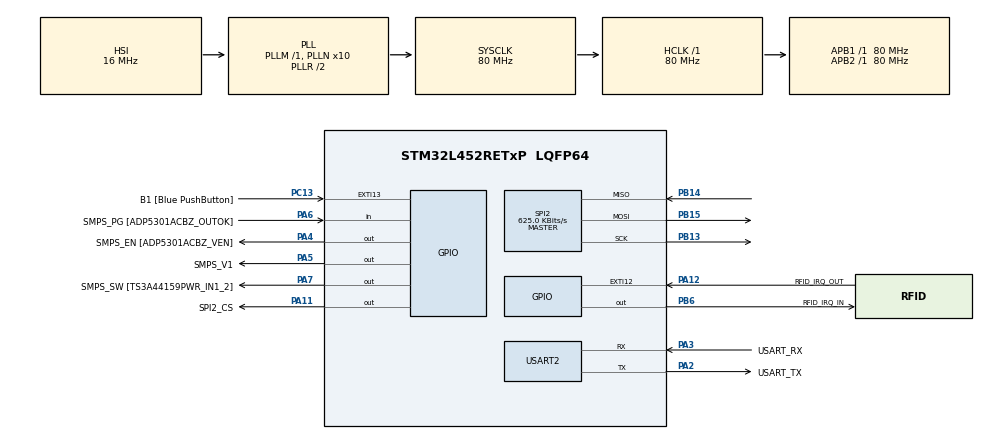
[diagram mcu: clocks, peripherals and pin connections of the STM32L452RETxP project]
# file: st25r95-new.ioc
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Mcu.Family=STM32L4
Mcu.Name=STM32L452RETxP
Mcu.Package=LQFP64
NVIC.EXTI15_10_IRQn=true\:0\:0\:false\:false\:true\:true\:true\:true
NVIC.PriorityGroup=NVIC_PRIORITYGROUP_4
PA11.GPIO_Label=SPI2_CS
PA11.GPIO_PuPd=GPIO_NOPULL
PA11.GPIO_Speed=GPIO_SPEED_FREQ_VERY_HIGH
PA11.PinState=GPIO_PIN_SET
PA11.Signal=GPIO_Output
PA12.GPIO_Label=RFID_IRQ_OUT
PA12.GPIO_ModeDefaultEXTI=GPIO_MODE_IT_FALLING
PA12.GPIO_PuPd=GPIO_PULLUP
PA12.Signal=GPXTI12
PA13\ (JTMS/SWDIO).GPIO_Label=TMS
PA13\ (JTMS/SWDIO).Signal=SYS_JTMS-SWDIO
PA14\ (JTCK/SWCLK).GPIO_Label=TCK
PA14\ (JTCK/SWCLK).Signal=SYS_JTCK-SWCLK
PA2.GPIO_Label=USART_TX
PA2.GPIO_Mode=GPIO_MODE_AF_PP
PA2.GPIO_PuPd=GPIO_NOPULL
PA2.GPIO_Speed=GPIO_SPEED_FREQ_VERY_HIGH
PA2.Mode=Asynchronous
PA2.Signal=USART2_TX
PA3.GPIO_Label=USART_RX
PA3.GPIO_Mode=GPIO_MODE_AF_PP
PA3.GPIO_PuPd=GPIO_NOPULL
PA3.GPIO_Speed=GPIO_SPEED_FREQ_VERY_HIGH
PA3.Mode=Asynchronous
PA3.Signal=USART2_RX
PA4.GPIO_Label=SMPS_EN [ADP5301ACBZ_VEN]
PA4.Signal=GPIO_Output
PA5.GPIO_Label=SMPS_V1
PA5.GPIO_ModeDefaultOutputPP=GPIO_MODE_OUTPUT_PP
PA5.GPIO_PuPd=GPIO_NOPULL
PA5.GPIO_Speed=GPIO_SPEED_FREQ_LOW
PA5.Signal=GPIO_Output
PA6.GPIO_Label=SMPS_PG [ADP5301ACBZ_OUTOK]
PA6.GPIO_PuPd=GPIO_PULLUP
PA6.Signal=GPIO_Input
PA7.GPIO_Label=SMPS_SW [TS3A44159PWR_IN1_2]
PA7.Signal=GPIO_Output
PB13.Mode=Full_Duplex_Master
PB13.Signal=SPI2_SCK
PB14.Mode=Full_Duplex_Master
PB14.Signal=SPI2_MISO
PB15.Mode=Full_Duplex_Master
PB15.Signal=SPI2_MOSI
PB3\ (JTDO/TRACESWO).GPIO_Label=SWO
PB3\ (JTDO/TRACESWO).Signal=SYS_JTDO-SWO
PB6.GPIO_FM6=__NULL
PB6.GPIO_Label=RFID_IRQ_IN
PB6.GPIO_PuPd=GPIO_PULLUP
PB6.GPIO_Speed=GPIO_SPEED_FREQ_LOW
PB6.PinState=GPIO_PIN_RESET
PB6.Signal=GPIO_Output
PC13.GPIO_Label=B1 [Blue PushButton]
PC13.GPIO_ModeDefaultEXTI=GPIO_MODE_IT_FALLING
PC13.GPIO_PuPd=GPIO_NOPULL
PC13.Signal=GPXTI13
PC14-OSC32_IN\ (PC14).Signal=RCC_OSC32_IN
PC15-OSC32_OUT\ (PC15).Signal=RCC_OSC32_OUT
PH0-OSC_IN\ (PH0).GPIO_Label=MCO
PH0-OSC_IN\ (PH0).Signal=RCC_OSC_IN
PH1-OSC_OUT\ (PH1).Signal=RCC_OSC_OUT
ProjectManager.HeapSize=0x200
ProjectManager.StackSize=0x400
ProjectManager.TargetToolchain=STM32CubeIDE
RCC.ADCFreq_Value=64000000
RCC.AHBFreq_Value=80000000
RCC.APB1Freq_Value=80000000
RCC.APB1TimFreq_Value=80000000
RCC.APB2Freq_Value=80000000
RCC.APB2TimFreq_Value=80000000
RCC.CortexFreq_Value=80000000
RCC.HCLKFreq_Value=80000000
RCC.HSE_VALUE=8000000
RCC.HSI48_VALUE=48000000
RCC.HSI_VALUE=16000000
RCC.LSE_VALUE=32768
RCC.MSI_VALUE=4000000
RCC.PLLN=10
RCC.PLLSourceVirtual=RCC_PLLSOURCE_HSI
RCC.PREFETCH_ENABLE=1
RCC.SYSCLKFreq_VALUE=80000000
RCC.SYSCLKSource=RCC_SYSCLKSOURCE_PLLCLK
RCC.USBFreq_Value=64000000
RCC.VCOOutputFreq_Value=160000000
SPI2.BaudRatePrescaler=SPI_BAUDRATEPRESCALER_128
SPI2.CalculateBaudRate=625.0 KBits/s
SPI2.DataSize=SPI_DATASIZE_8BIT
SPI2.Direction=SPI_DIRECTION_2LINES
SPI2.Mode=SPI_MODE_MASTER
SPI2.VirtualType=VM_MASTER
USART2.VirtualMode-Asynchronous=VM_ASYNC
board=NUCLEO-L452RE-P

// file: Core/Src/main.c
/* USER CODE BEGIN Header */
/**
  ******************************************************************************
  * @file           : main.c
  * @brief          : Main program body
  ******************************************************************************
  * @attention
  *
  * Copyright (c) 2022 STMicroelectronics.
  * All rights reserved.
  *
  * This software is licensed under terms that can be found in the LICENSE file
  * in the root directory of this software component.
  * If no LICENSE file comes with this software, it is provided AS-IS.
  *
  ******************************************************************************
  */
/* USER CODE END Header */
#include "main.h"

/* USER CODE BEGIN Includes */
#include "st25r95.h"
#include <stdlib.h>
/* USER CODE END Includes */

/* USER CODE BEGIN PD */
#define SPI2_CS_PORT GPIOA
#define SPI2_CS_PIN GPIO_PIN_11
#define READER_IRQ_IN_PORT GPIOB
#define READER_IRQ_IN_PIN GPIO_PIN_6
#define READER_IRQ_OUT_PORT GPIOA
#define READER_IRQ_OUT_PIN GPIO_PIN_12

/* USER CODE END PD */

SPI_HandleTypeDef hspi2;

UART_HandleTypeDef huart2;

void SystemClock_Config(void);
static void MX_GPIO_Init(void);
static void MX_SPI2_Init(void);
static void MX_USART2_UART_Init(void);

/* USER CODE BEGIN 0 */
volatile st25r95_handle reader_handler;

void reader_irq_pulse() {
  HAL_GPIO_WritePin(READER_IRQ_IN_PORT, READER_IRQ_IN_PIN, GPIO_PIN_RESET);
  HAL_Delay(1);
  HAL_GPIO_WritePin(READER_IRQ_IN_PORT, READER_IRQ_IN_PIN, GPIO_PIN_SET);
  HAL_Delay(8);
}

void reader_nss(uint8_t enable) {
  HAL_GPIO_WritePin(SPI2_CS_PORT, SPI2_CS_PIN, enable ? GPIO_PIN_RESET : GPIO_PIN_SET);
}

int reader_tx(uint8_t *data, size_t len) {
  int ret = HAL_SPI_Transmit(&hspi2, data, len, HAL_MAX_DELAY);
  return ret;
}

int reader_rx(uint8_t *data, size_t len) {
  int ret = HAL_SPI_Receive(&hspi2, data, len, HAL_MAX_DELAY);
  return ret;
}

void HAL_GPIO_EXTI_Callback(uint16_t pin) {
  if (pin == READER_IRQ_OUT_PIN) {
    reader_handler.irq_flag = 1;
  }
}

void st25_card_callback(uint8_t *uid) {
  HAL_Delay(uid[0]);
}
/* USER CODE END 0 */

int main(void)
{

  /* MCU Configuration--------------------------------------------------------*/

  /* Reset of all peripherals, Initializes the Flash interface and the Systick. */
  HAL_Init();

  /* Configure the system clock */
  SystemClock_Config();

  /* Initialize all configured peripherals */
  MX_GPIO_Init();
  MX_SPI2_Init();
  MX_USART2_UART_Init();
  /* USER CODE BEGIN 2 */

  /* Setup all protocol */
  reader_handler.protocol = ST25_PROTOCOL_14443A;
  reader_handler.tx_speed = ST25_26K_106K; // datarate used by 14443A
  reader_handler.rx_speed = ST25_26K_106K; // same for up and downlinks
  reader_handler.timerw = 0x58;
  reader_handler.ARC = 0xD1;
  reader_handler.irq_flag = 0;

  /* Bind BSP Functions */
  reader_handler.nss = reader_nss;
  reader_handler.tx = reader_tx;
  reader_handler.rx = reader_rx;
  reader_handler.irq_pulse = reader_irq_pulse;
  reader_handler.callback = st25_card_callback;

  st25r95_init(&reader_handler);
  st25r95_calibrate(&reader_handler);
  /* USER CODE END 2 */

  /* Infinite loop */
  /* USER CODE BEGIN WHILE */

  st25r95_idle(&reader_handler);
  while (1) {
    st25r95_service(&reader_handler);
    /* USER CODE END WHILE */

  }
}

void SystemClock_Config(void)
{
  RCC_OscInitTypeDef RCC_OscInitStruct = {0};
  RCC_ClkInitTypeDef RCC_ClkInitStruct = {0};

  /** Configure the main internal regulator output voltage
  */
  if (HAL_PWREx_ControlVoltageScaling(PWR_REGULATOR_VOLTAGE_SCALE1) != HAL_OK)
  {
    Error_Handler();
  }

  /** Initializes the RCC Oscillators according to the specified parameters
  * in the RCC_OscInitTypeDef structure.
  */
  RCC_OscInitStruct.OscillatorType = RCC_OSCILLATORTYPE_HSI;
  RCC_OscInitStruct.HSIState = RCC_HSI_ON;
  RCC_OscInitStruct.HSICalibrationValue = RCC_HSICALIBRATION_DEFAULT;
  RCC_OscInitStruct.PLL.PLLState = RCC_PLL_ON;
  RCC_OscInitStruct.PLL.PLLSource = RCC_PLLSOURCE_HSI;
  RCC_OscInitStruct.PLL.PLLM = 1;
  RCC_OscInitStruct.PLL.PLLN = 10;
  RCC_OscInitStruct.PLL.PLLP = RCC_PLLP_DIV7;
  RCC_OscInitStruct.PLL.PLLQ = RCC_PLLQ_DIV2;
  RCC_OscInitStruct.PLL.PLLR = RCC_PLLR_DIV2;
  if (HAL_RCC_OscConfig(&RCC_OscInitStruct) != HAL_OK)
  {
    Error_Handler();
  }

  /** Initializes the CPU, AHB and APB buses clocks
  */
  RCC_ClkInitStruct.ClockType = RCC_CLOCKTYPE_HCLK|RCC_CLOCKTYPE_SYSCLK
                              |RCC_CLOCKTYPE_PCLK1|RCC_CLOCKTYPE_PCLK2;
  RCC_ClkInitStruct.SYSCLKSource = RCC_SYSCLKSOURCE_PLLCLK;
  RCC_ClkInitStruct.AHBCLKDivider = RCC_SYSCLK_DIV1;
  RCC_ClkInitStruct.APB1CLKDivider = RCC_HCLK_DIV1;
  RCC_ClkInitStruct.APB2CLKDivider = RCC_HCLK_DIV1;

  if (HAL_RCC_ClockConfig(&RCC_ClkInitStruct, FLASH_LATENCY_4) != HAL_OK)
  {
    Error_Handler();
  }
}

static void MX_SPI2_Init(void)
{

  /* SPI2 parameter configuration*/
  hspi2.Instance = SPI2;
  hspi2.Init.Mode = SPI_MODE_MASTER;
  hspi2.Init.Direction = SPI_DIRECTION_2LINES;
  hspi2.Init.DataSize = SPI_DATASIZE_8BIT;
  hspi2.Init.CLKPolarity = SPI_POLARITY_LOW;
  hspi2.Init.CLKPhase = SPI_PHASE_1EDGE;
  hspi2.Init.NSS = SPI_NSS_SOFT;
  hspi2.Init.BaudRatePrescaler = SPI_BAUDRATEPRESCALER_128;
  hspi2.Init.FirstBit = SPI_FIRSTBIT_MSB;
  hspi2.Init.TIMode = SPI_TIMODE_DISABLE;
  hspi2.Init.CRCCalculation = SPI_CRCCALCULATION_DISABLE;
  hspi2.Init.CRCPolynomial = 7;
  hspi2.Init.CRCLength = SPI_CRC_LENGTH_DATASIZE;
  hspi2.Init.NSSPMode = SPI_NSS_PULSE_ENABLE;
  if (HAL_SPI_Init(&hspi2) != HAL_OK)
  {
    Error_Handler();
  }

}

static void MX_USART2_UART_Init(void)
{

  huart2.Instance = USART2;
  huart2.Init.BaudRate = 115200;
  huart2.Init.WordLength = UART_WORDLENGTH_8B;
  huart2.Init.StopBits = UART_STOPBITS_1;
  huart2.Init.Parity = UART_PARITY_NONE;
  huart2.Init.Mode = UART_MODE_TX_RX;
  huart2.Init.HwFlowCtl = UART_HWCONTROL_NONE;
  huart2.Init.OverSampling = UART_OVERSAMPLING_16;
  huart2.Init.OneBitSampling = UART_ONE_BIT_SAMPLE_DISABLE;
  huart2.AdvancedInit.AdvFeatureInit = UART_ADVFEATURE_NO_INIT;
  if (HAL_UART_Init(&huart2) != HAL_OK)
  {
    Error_Handler();
  }

}

static void MX_GPIO_Init(void)
{
  GPIO_InitTypeDef GPIO_InitStruct = {0};

  /* GPIO Ports Clock Enable */
  __HAL_RCC_GPIOC_CLK_ENABLE();
  __HAL_RCC_GPIOH_CLK_ENABLE();
  __HAL_RCC_GPIOA_CLK_ENABLE();
  __HAL_RCC_GPIOB_CLK_ENABLE();

  /*Configure GPIO pin Output Level */
  HAL_GPIO_WritePin(GPIOA, SMPS_EN_Pin|SMPS_V1_Pin|SMPS_SW_Pin, GPIO_PIN_RESET);

  /*Configure GPIO pin Output Level */
  HAL_GPIO_WritePin(SPI2_CS_GPIO_Port, SPI2_CS_Pin, GPIO_PIN_SET);

  /*Configure GPIO pin Output Level */
  HAL_GPIO_WritePin(RFID_IRQ_IN_GPIO_Port, RFID_IRQ_IN_Pin, GPIO_PIN_RESET);

  /*Configure GPIO pin : B1_Pin */
  GPIO_InitStruct.Pin = B1_Pin;
  GPIO_InitStruct.Mode = GPIO_MODE_IT_FALLING;
  GPIO_InitStruct.Pull = GPIO_NOPULL;
  HAL_GPIO_Init(B1_GPIO_Port, &GPIO_InitStruct);

  /*Configure GPIO pins : SMPS_EN_Pin SMPS_V1_Pin SMPS_SW_Pin */
  GPIO_InitStruct.Pin = SMPS_EN_Pin|SMPS_V1_Pin|SMPS_SW_Pin;
  GPIO_InitStruct.Mode = GPIO_MODE_OUTPUT_PP;
  GPIO_InitStruct.Pull = GPIO_NOPULL;
  GPIO_InitStruct.Speed = GPIO_SPEED_FREQ_LOW;
  HAL_GPIO_Init(GPIOA, &GPIO_InitStruct);

  /*Configure GPIO pin : SMPS_PG_Pin */
  GPIO_InitStruct.Pin = SMPS_PG_Pin;
  GPIO_InitStruct.Mode = GPIO_MODE_INPUT;
  GPIO_InitStruct.Pull = GPIO_PULLUP;
  HAL_GPIO_Init(SMPS_PG_GPIO_Port, &GPIO_InitStruct);

  /*Configure GPIO pin : SPI2_CS_Pin */
  GPIO_InitStruct.Pin = SPI2_CS_Pin;
  GPIO_InitStruct.Mode = GPIO_MODE_OUTPUT_PP;
  GPIO_InitStruct.Pull = GPIO_NOPULL;
  GPIO_InitStruct.Speed = GPIO_SPEED_FREQ_VERY_HIGH;
  HAL_GPIO_Init(SPI2_CS_GPIO_Port, &GPIO_InitStruct);

  /*Configure GPIO pin : RFID_IRQ_OUT_Pin */
  GPIO_InitStruct.Pin = RFID_IRQ_OUT_Pin;
  GPIO_InitStruct.Mode = GPIO_MODE_IT_FALLING;
  GPIO_InitStruct.Pull = GPIO_PULLUP;
  HAL_GPIO_Init(RFID_IRQ_OUT_GPIO_Port, &GPIO_InitStruct);

  /*Configure GPIO pin : RFID_IRQ_IN_Pin */
  GPIO_InitStruct.Pin = RFID_IRQ_IN_Pin;
  GPIO_InitStruct.Mode = GPIO_MODE_OUTPUT_PP;
  GPIO_InitStruct.Pull = GPIO_PULLUP;
  GPIO_InitStruct.Speed = GPIO_SPEED_FREQ_LOW;
  HAL_GPIO_Init(RFID_IRQ_IN_GPIO_Port, &GPIO_InitStruct);

  /* EXTI interrupt init*/
  HAL_NVIC_SetPriority(EXTI15_10_IRQn, 0, 0);
  HAL_NVIC_EnableIRQ(EXTI15_10_IRQn);

}

void Error_Handler(void)
{
  __disable_irq();
  while (1) {
  }
}
